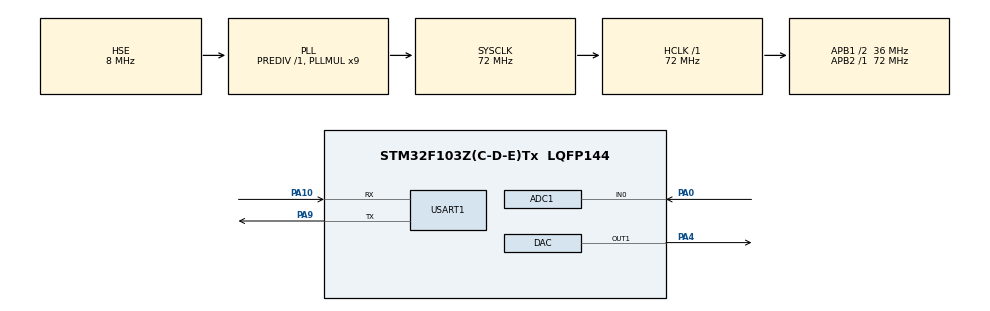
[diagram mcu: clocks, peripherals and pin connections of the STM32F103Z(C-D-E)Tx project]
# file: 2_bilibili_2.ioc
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ADC1.Channel-0\#ChannelRegularConversion=ADC_CHANNEL_0
ADC1.ContinuousConvMode=ENABLE
ADC1.NbrOfConversionFlag=1
ADC1.Rank-0\#ChannelRegularConversion=1
ADC1.SamplingTime-0\#ChannelRegularConversion=ADC_SAMPLETIME_55CYCLES_5
ADC1.master=1
Dma.ADC1.0.Direction=DMA_PERIPH_TO_MEMORY
Dma.ADC1.0.Instance=DMA1_Channel1
Dma.ADC1.0.MemDataAlignment=DMA_MDATAALIGN_HALFWORD
Dma.ADC1.0.MemInc=DMA_MINC_ENABLE
Dma.ADC1.0.Mode=DMA_CIRCULAR
Dma.ADC1.0.PeriphDataAlignment=DMA_PDATAALIGN_HALFWORD
Dma.ADC1.0.PeriphInc=DMA_PINC_DISABLE
Dma.ADC1.0.Priority=DMA_PRIORITY_HIGH
Dma.Request0=ADC1
Mcu.Family=STM32F1
Mcu.Name=STM32F103Z(C-D-E)Tx
Mcu.Package=LQFP144
NVIC.DMA1_Channel1_IRQn=true\:0\:0\:false\:false\:true\:false\:true
NVIC.PriorityGroup=NVIC_PRIORITYGROUP_4
OSC_IN.Mode=HSE-External-Oscillator
OSC_IN.Signal=RCC_OSC_IN
OSC_OUT.Mode=HSE-External-Oscillator
OSC_OUT.Signal=RCC_OSC_OUT
PA0-WKUP.Signal=ADCx_IN0
PA10.Mode=Asynchronous
PA10.Signal=USART1_RX
PA13.Mode=Serial_Wire
PA13.Signal=SYS_JTMS-SWDIO
PA14.Mode=Serial_Wire
PA14.Signal=SYS_JTCK-SWCLK
PA4.Signal=COMP_DAC1_group
PA9.Mode=Asynchronous
PA9.Signal=USART1_TX
ProjectManager.HeapSize=0x200
ProjectManager.StackSize=0x400
ProjectManager.TargetToolchain=MDK-ARM V5.27
RCC.ADCPresc=RCC_ADCPCLK2_DIV6
RCC.AHBFreq_Value=72000000
RCC.APB1CLKDivider=RCC_HCLK_DIV2
RCC.APB1Freq_Value=36000000
RCC.APB1TimFreq_Value=72000000
RCC.APB2Freq_Value=72000000
RCC.APB2TimFreq_Value=72000000
RCC.HCLKFreq_Value=72000000
RCC.PLLMUL=RCC_PLL_MUL9
RCC.PLLSourceVirtual=RCC_PLLSOURCE_HSE
RCC.SYSCLKFreq_VALUE=72000000
RCC.SYSCLKSource=RCC_SYSCLKSOURCE_PLLCLK
RCC.USBFreq_Value=72000000
SH.ADCx_IN0.0=ADC1_IN0,IN0
SH.COMP_DAC1_group.0=DAC_OUT1,DAC_OUT1
USART1.VirtualMode=VM_ASYNC
board=custom

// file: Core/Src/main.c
/* USER CODE BEGIN Header */
/**
  ******************************************************************************
  * @file           : main.c
  * @brief          : Main program body
  ******************************************************************************
  * @attention
  *
  * <h2><center>&copy; Copyright (c) 2020 STMicroelectronics.
  * All rights reserved.</center></h2>
  *
  * This software component is licensed by ST under BSD 3-Clause license,
  * the "License"; You may not use this file except in compliance with the
  * License. You may obtain a copy of the License at:
  *                        opensource.org/licenses/BSD-3-Clause
  *
  ******************************************************************************
  */
/* USER CODE END Header */
#include "main.h"
#include "adc.h"
#include "dac.h"
#include "dma.h"
#include "usart.h"
#include "gpio.h"

/* USER CODE BEGIN Includes */
#include "stdio.h"
#include "pid.h"
/* USER CODE END Includes */

/* USER CODE BEGIN PD */
#define ADC_Channel_MAX 2
/* USER CODE END PD */

/* USER CODE BEGIN PV */
	uint16_t ADC_DMA_Value[ADC_Channel_MAX];		//DMA得到ADC的值
	uint16_t ADC_Value = 0;
	uint16_t DAC_Value = 100;
/* USER CODE END PV */

void SystemClock_Config(void);

int main(void)
{
  /* USER CODE BEGIN 1 */
//	__disable_irq();
	SCB->VTOR = FLASH_BASE | 0x00005000UL;/* 更改中断向量表地址 */
//	__enable_irq();
  /* USER CODE END 1 */

  /* MCU Configuration--------------------------------------------------------*/

  /* Reset of all peripherals, Initializes the Flash interface and the Systick. */
  HAL_Init();

  /* Configure the system clock */
  SystemClock_Config();

  /* Initialize all configured peripherals */
  MX_GPIO_Init();
  MX_DMA_Init();
  MX_ADC1_Init();
  MX_USART1_UART_Init();
  MX_DAC_Init();
  /* USER CODE BEGIN 2 */
  HAL_ADCEx_Calibration_Start(&hadc1);    //AD校准
  HAL_ADC_Start_DMA(&hadc1, (uint32_t *)&ADC_DMA_Value, ADC_Channel_MAX);	//启动ADC的DMA转换方式

  PID_init();

  /* USER CODE END 2 */

  /* Infinite loop */
  while (1)
  {

    /* USER CODE BEGIN 3 */
	  HAL_DAC_SetValue(&hdac, DAC_CHANNEL_1, DAC_ALIGN_12B_R, DAC_Value);
	  HAL_DAC_Start(&hdac,DAC_CHANNEL_1);
	  ADC_Value = ADC_DMA_Value[0];
	  printf("%d\n", ADC_Value);
	  DAC_Value = DAC_Value + PID_realize(800, ADC_Value);
	  HAL_Delay(200);
  }
  /* USER CODE END 3 */
}

void SystemClock_Config(void)
{
  RCC_OscInitTypeDef RCC_OscInitStruct = {0};
  RCC_ClkInitTypeDef RCC_ClkInitStruct = {0};
  RCC_PeriphCLKInitTypeDef PeriphClkInit = {0};

  /** Initializes the RCC Oscillators according to the specified parameters
  * in the RCC_OscInitTypeDef structure.
  */
  RCC_OscInitStruct.OscillatorType = RCC_OSCILLATORTYPE_HSE;
  RCC_OscInitStruct.HSEState = RCC_HSE_ON;
  RCC_OscInitStruct.HSEPredivValue = RCC_HSE_PREDIV_DIV1;
  RCC_OscInitStruct.HSIState = RCC_HSI_ON;
  RCC_OscInitStruct.PLL.PLLState = RCC_PLL_ON;
  RCC_OscInitStruct.PLL.PLLSource = RCC_PLLSOURCE_HSE;
  RCC_OscInitStruct.PLL.PLLMUL = RCC_PLL_MUL9;
  if (HAL_RCC_OscConfig(&RCC_OscInitStruct) != HAL_OK)
  {
    Error_Handler();
  }
  /** Initializes the CPU, AHB and APB buses clocks
  */
  RCC_ClkInitStruct.ClockType = RCC_CLOCKTYPE_HCLK|RCC_CLOCKTYPE_SYSCLK
                              |RCC_CLOCKTYPE_PCLK1|RCC_CLOCKTYPE_PCLK2;
  RCC_ClkInitStruct.SYSCLKSource = RCC_SYSCLKSOURCE_PLLCLK;
  RCC_ClkInitStruct.AHBCLKDivider = RCC_SYSCLK_DIV1;
  RCC_ClkInitStruct.APB1CLKDivider = RCC_HCLK_DIV2;
  RCC_ClkInitStruct.APB2CLKDivider = RCC_HCLK_DIV1;

  if (HAL_RCC_ClockConfig(&RCC_ClkInitStruct, FLASH_LATENCY_2) != HAL_OK)
  {
    Error_Handler();
  }
  PeriphClkInit.PeriphClockSelection = RCC_PERIPHCLK_ADC;
  PeriphClkInit.AdcClockSelection = RCC_ADCPCLK2_DIV6;
  if (HAL_RCCEx_PeriphCLKConfig(&PeriphClkInit) != HAL_OK)
  {
    Error_Handler();
  }
}

void Error_Handler(void)
{
}

/************************ (C) COPYRIGHT STMicroelectronics *****END OF FILE****/
